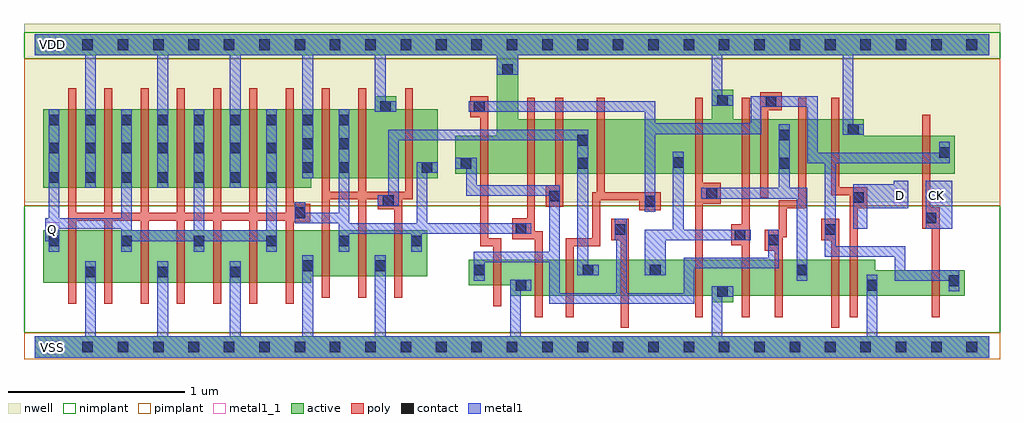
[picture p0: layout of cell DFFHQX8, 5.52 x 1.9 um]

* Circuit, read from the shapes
.subckt DFFHQX8 CK D Q VDD VSS
M1 VSS n1 Q VSS nfet w=0.295u l=0.045u m=7
M2 n1 n2 VSS VSS nfet w=0.26u l=0.045u m=3
M3 VSS n3 n4 VSS nfet w=0.145u l=0.045u
M4 n5 n1 VSS VSS nfet w=0.205u l=0.045u
M5 n2 n3 n5 VSS nfet w=0.205u l=0.045u
M6 n6 n4 n2 VSS nfet w=0.205u l=0.045u
M7 VSS n7 n6 VSS nfet w=0.205u l=0.045u
M8 n8 n6 VSS VSS nfet w=0.205u l=0.045u
M9 n7 n4 n8 VSS nfet w=0.205u l=0.045u
M10 n9 n3 n7 VSS nfet w=0.205u l=0.045u
M11 VSS D n9 VSS nfet w=0.205u l=0.045u
M12 n3 CK VSS VSS nfet w=0.145u l=0.045u
M13 VDD n1 Q VDD pfet w=0.445u l=0.045u m=7
M14 n1 n2 VDD VDD pfet w=0.39u l=0.045u m=3
M15 VDD n3 n4 VDD pfet w=0.215u l=0.045u
M16 n10 n1 VDD VDD pfet w=0.31u l=0.045u
M17 n2 n4 n10 VDD pfet w=0.31u l=0.045u
M18 n6 n3 n2 VDD pfet w=0.31u l=0.045u
M19 VDD n7 n6 VDD pfet w=0.31u l=0.045u
M20 n11 n6 VDD VDD pfet w=0.31u l=0.045u
M21 n7 n3 n11 VDD pfet w=0.31u l=0.045u
M22 n12 n4 n7 VDD pfet w=0.31u l=0.045u
M23 VDD D n12 VDD pfet w=0.31u l=0.045u
M24 n3 CK VDD VDD pfet w=0.215u l=0.045u
.ends

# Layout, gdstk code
import gdstk
lib = gdstk.Library(unit=1e-6, precision=5e-10)
def R(c, l, rs):  # rectangles x0, y0, x1, y1
    for r in rs: c.add(gdstk.rectangle(r[:2], r[2:], *l))
def A(c, l, x, y, w, h, nx, ny, dx, dy):  # array of equal rectangles
    R(c, l, [(x+i*dx, y+j*dy, x+i*dx+w, y+j*dy+h) for i in range(nx) for j in range(ny)])
def P(c, l, *ps):  # polygons
    for p in ps: c.add(gdstk.Polygon(p, *l))
active = (1, 0)
nwell = (2, 0)
poly = (3, 0)
nimplant = (4, 0)
pimplant = (5, 0)
contact = (6, 0)
metal1 = (7, 0)
metal1_1 = (7, 1)

dffhqx8 = lib.new_cell('DFFHQX8')
R(dffhqx8, active, [(0,-0.06,5.4,0.06)])
P(dffhqx8, active, [(0,1.77),(5.4,1.77),(5.4,1.65),(2.735,1.65),(2.735,1.29),(3.83,1.29),(3.83,1.455),(3.95,1.455),(3.95,1.29),(4.69,1.29),(4.69,1.195),(5.205,1.195),(5.205,0.98),(2.38,0.98),(2.38,1.195),(2.615,1.195),(2.615,1.65),(0,1.65)],
  [(1.925,1.42),(2.045,1.42),(2.045,1.345),(2.28,1.345),(2.28,0.955),(1.565,0.955),(1.565,0.9),(0.05,0.9),(0.05,1.345),(1.925,1.345)],
  [(0.05,0.66),(2.22,0.66),(2.22,0.4),(1.565,0.4),(1.565,0.365),(0.05,0.365)],
  [(2.455,0.495),(4.755,0.495),(4.755,0.435),(5.26,0.435),(5.26,0.29),(3.95,0.29),(3.95,0.255),(3.83,0.255),(3.83,0.29),(2.69,0.29),(2.69,0.35),(2.455,0.35)])
R(dffhqx8, nwell, [(-0.06,0.82,5.46,1.83)])
P(dffhqx8, poly, [(0.19,1.465),(0.235,1.465),(0.235,0.76),(0.395,0.76),(0.395,1.465),(0.44,1.465),(0.44,0.76),(0.6,0.76),(0.6,1.465),(0.645,1.465),(0.645,0.76),(0.805,0.76),(0.805,1.465),(0.85,1.465),(0.85,0.76),(1.01,0.76),(1.01,1.465),(1.055,1.465),(1.055,0.76),(1.215,0.76),(1.215,1.465),(1.26,1.465),(1.26,0.76),(1.42,0.76),(1.42,1.465),(1.465,1.465),(1.465,0.81),(1.56,0.81),(1.56,0.71),(1.465,0.71),(1.465,0.245),(1.42,0.245),(1.42,0.715),(1.26,0.715),(1.26,0.245),(1.215,0.245),(1.215,0.715),(1.055,0.715),(1.055,0.245),(1.01,0.245),(1.01,0.715),(0.85,0.715),(0.85,0.245),(0.805,0.245),(0.805,0.715),(0.645,0.715),(0.645,0.245),(0.6,0.245),(0.6,0.715),(0.44,0.715),(0.44,0.245),(0.395,0.245),(0.395,0.715),(0.235,0.715),(0.235,0.245),(0.19,0.245)],
  [(1.625,1.465),(1.67,1.465),(1.67,0.88),(1.83,0.88),(1.83,1.465),(1.875,1.465),(1.875,0.88),(2.095,0.88),(2.095,1.465),(2.14,1.465),(2.14,0.835),(2.08,0.835),(2.08,0.28),(2.035,0.28),(2.035,0.78),(1.94,0.78),(1.94,0.835),(1.875,0.835),(1.875,0.28),(1.83,0.28),(1.83,0.835),(1.67,0.835),(1.67,0.28),(1.625,0.28)],
  [(2.465,1.42),(2.565,1.42),(2.565,0.615),(2.64,0.615),(2.64,0.23),(2.595,0.23),(2.595,0.57),(2.52,0.57),(2.52,1.3),(2.465,1.3)],
  [(2.785,1.41),(2.83,1.41),(2.83,0.655),(2.875,0.655),(2.875,0.17),(2.83,0.17),(2.83,0.61),(2.7,0.61),(2.7,0.73),(2.785,0.73)],
  [(2.945,1.41),(2.99,1.41),(2.99,0.795),(2.89,0.795),(2.89,0.915),(2.945,0.915)],
  [(3.18,1.41),(3.225,1.41),(3.225,0.875),(3.54,0.875),(3.54,0.775),(3.42,0.775),(3.42,0.83),(3.2,0.83),(3.2,0.57),(3.05,0.57),(3.05,0.17),(3.005,0.17),(3.005,0.615),(3.155,0.615),(3.155,0.875),(3.18,0.875)],
  [(3.735,1.41),(3.78,1.41),(3.78,0.93),(3.88,0.93),(3.88,0.81),(3.78,0.81),(3.78,0.17),(3.735,0.17)],
  [(4.105,1.44),(4.225,1.44),(4.225,1.34),(4.15,1.34),(4.15,0.845),(4.105,0.845)],
  [(4,1.41),(4.045,1.41),(4.045,0.17),(4,0.17),(4,0.575),(3.94,0.575),(3.94,0.695),(4,0.695)],
  [(4.32,1.41),(4.365,1.41),(4.365,0.785),(4.255,0.785),(4.255,0.62),(4.23,0.62),(4.23,0.17),(4.185,0.17),(4.185,0.545),(4.13,0.545),(4.13,0.665),(4.21,0.665),(4.21,0.83),(4.32,0.83)],
  [(4.505,1.41),(4.55,1.41),(4.55,0.905),(4.71,0.905),(4.71,0.785),(4.655,0.785),(4.655,0.17),(4.61,0.17),(4.61,0.86),(4.505,0.86)],
  [(5.02,1.315),(5.065,1.315),(5.065,0.79),(5.12,0.79),(5.12,0.17),(5.075,0.17),(5.075,0.67),(5.02,0.67)],
  [(3.26,0.725),(3.36,0.725),(3.36,0.11),(3.315,0.11),(3.315,0.605),(3.26,0.605)],
  [(4.45,0.725),(4.55,0.725),(4.55,0.11),(4.505,0.11),(4.505,0.605),(4.45,0.605)])
R(dffhqx8, nimplant, [(-0.06,0.08,5.46,0.8), (-0.06,1.63,5.46,1.78)])
R(dffhqx8, pimplant, [(-0.06,-0.07,5.46,0.08), (-0.06,0.8,5.46,1.63)])
A(dffhqx8, contact, 0.07, -0.03, 0.06, 0.06, 27, 2, 0.2, 1.71)
A(dffhqx8, contact, 0.285, 0.395, 0.06, 0.06, 3, 1, 0.41, 0)
A(dffhqx8, contact, 0.08, 0.57, 0.06, 0.06, 6, 1, 0.41, 0)
A(dffhqx8, contact, 0.08, 0.93, 0.06, 0.06, 7, 2, 0.205, 0.165)
A(dffhqx8, contact, 0.08, 1.255, 0.06, 0.06, 9, 1, 0.205, 0)
R(dffhqx8, contact, [(3.86,0.285,3.92,0.345), (2.72,0.32,2.78,0.38), (4.705,0.32,4.765,0.38), (5.17,0.345,5.23,0.405), (2.485,0.405,2.545,0.465), (3.1,0.405,3.16,0.465), (3.48,0.405,3.54,0.465), (4.31,0.405,4.37,0.465), (1.515,0.43,1.575,0.49), (1.925,0.43,1.985,0.49), (4.15,0.575,4.21,0.635), (3.96,0.605,4.02,0.665), (3.28,0.635,3.34,0.695), (4.47,0.635,4.53,0.695), (2.72,0.64,2.78,0.7), (5.04,0.7,5.1,0.76), (1.47,0.73,1.53,0.79), (3.45,0.795,3.51,0.855), (1.97,0.8,2.03,0.86), (4.63,0.815,4.69,0.875), (2.91,0.825,2.97,0.885), (3.8,0.84,3.86,0.9), (1.515,0.985,1.575,1.045), (1.72,0.985,1.78,1.045), (2.19,0.985,2.25,1.045), (2.41,1.01,2.47,1.07), (3.07,1.01,3.13,1.07), (4.21,1.01,4.27,1.07), (3.61,1.015,3.67,1.075), (5.115,1.07,5.175,1.13), (1.515,1.12,1.575,1.18), (1.72,1.12,1.78,1.18), (3.07,1.14,3.13,1.2), (4.21,1.17,4.27,1.23), (4.6,1.2,4.66,1.26), (1.955,1.33,2.015,1.39), (2.485,1.33,2.545,1.39), (4.135,1.36,4.195,1.42), (3.86,1.365,3.92,1.425), (2.645,1.54,2.705,1.6)])
R(dffhqx8, metal1, [(5.04,0.67,5.19,0.94)])
P(dffhqx8, metal1, [(0,1.77),(5.4,1.77),(5.4,1.65),(4.63,1.65),(4.63,1.26),(4.69,1.26),(4.69,1.2),(4.57,1.2),(4.57,1.65),(3.89,1.65),(3.89,1.425),(3.95,1.425),(3.95,1.365),(3.83,1.365),(3.83,1.65),(2.735,1.65),(2.735,1.54),(2.615,1.54),(2.615,1.65),(1.985,1.65),(1.985,1.39),(2.045,1.39),(2.045,1.33),(1.925,1.33),(1.925,1.65),(1.575,1.65),(1.575,0.955),(1.515,0.955),(1.515,1.65),(1.165,1.65),(1.165,0.9),(1.105,0.9),(1.105,1.65),(0.755,1.65),(0.755,0.9),(0.695,0.9),(0.695,1.65),(0.345,1.65),(0.345,0.9),(0.285,0.9),(0.285,1.65),(0,1.65)],
  [(0.08,1.345),(0.14,1.345),(0.14,0.73),(0.49,0.73),(0.49,1.345),(0.55,1.345),(0.55,0.66),(0.9,0.66),(0.9,1.345),(0.96,1.345),(0.96,0.66),(1.31,0.66),(1.31,1.345),(1.37,1.345),(1.37,0.54),(1.31,0.54),(1.31,0.6),(0.96,0.6),(0.96,0.54),(0.9,0.54),(0.9,0.6),(0.55,0.6),(0.55,0.54),(0.49,0.54),(0.49,0.67),(0.14,0.67),(0.14,0.54),(0.08,0.54),(0.08,0.6),(0.06,0.6),(0.06,0.73),(0.08,0.73)],
  [(2.455,1.39),(3.51,1.39),(3.51,1.265),(4.05,1.265),(4.05,1.42),(4.43,1.42),(4.43,1.1),(5.115,1.1),(5.115,1.16),(5.175,1.16),(5.175,1.04),(4.53,1.04),(4.53,0.57),(4.925,0.57),(4.925,0.435),(5.23,0.435),(5.23,0.315),(5.17,0.315),(5.17,0.375),(4.865,0.375),(4.865,0.51),(4.47,0.51),(4.47,1.04),(4.37,1.04),(4.37,1.36),(4.11,1.36),(4.11,1.205),(3.51,1.205),(3.51,0.765),(3.45,0.765),(3.45,1.33),(2.455,1.33)],
  [(1.47,0.82),(1.53,0.82),(1.53,0.76),(1.72,0.76),(1.72,1.345),(1.78,1.345),(1.78,0.7),(2.16,0.7),(2.16,1.045),(2.28,1.045),(2.28,0.985),(2.22,0.985),(2.22,0.7),(2.81,0.7),(2.81,0.64),(2.19,0.64),(2.19,0.54),(2.13,0.54),(2.13,0.64),(1.78,0.64),(1.78,0.54),(1.72,0.54),(1.72,0.7),(1.47,0.7)],
  [(2,1.23),(3.13,1.23),(3.13,0.465),(3.19,0.465),(3.19,0.405),(3.07,0.405),(3.07,1.17),(2.06,1.17),(2.06,0.8),(1.94,0.8),(1.94,0.86),(2,0.86)],
  [(2.38,1.07),(2.5,1.07),(2.5,0.915),(2.97,0.915),(2.97,0.305),(3.29,0.305),(3.29,0.605),(3.28,0.605),(3.28,0.725),(3.35,0.725),(3.35,0.305),(3.67,0.305),(3.67,0.505),(4.15,0.505),(4.15,0.665),(4.21,0.665),(4.21,0.445),(3.73,0.445),(3.73,0.245),(2.91,0.245),(2.91,0.48),(2.545,0.48),(2.545,0.375),(2.485,0.375),(2.485,0.54),(2.91,0.54),(2.91,0.855),(2.44,0.855),(2.44,1.01),(2.38,1.01)],
  [(0.285,0.485),(0.345,0.485),(0.345,0.06),(0.695,0.06),(0.695,0.485),(0.755,0.485),(0.755,0.06),(1.105,0.06),(1.105,0.485),(1.165,0.485),(1.165,0.06),(1.515,0.06),(1.515,0.52),(1.575,0.52),(1.575,0.06),(1.925,0.06),(1.925,0.52),(1.985,0.52),(1.985,0.06),(2.69,0.06),(2.69,0.38),(2.81,0.38),(2.81,0.32),(2.75,0.32),(2.75,0.06),(3.83,0.06),(3.83,0.345),(3.95,0.345),(3.95,0.285),(3.89,0.285),(3.89,0.06),(4.705,0.06),(4.705,0.41),(4.765,0.41),(4.765,0.06),(5.4,0.06),(5.4,-0.06),(0,-0.06),(0,0.06),(0.285,0.06)],
  [(4.21,1.26),(4.27,1.26),(4.27,0.9),(4.37,0.9),(4.37,0.375),(4.31,0.375),(4.31,0.84),(3.77,0.84),(3.77,0.9),(4.21,0.9)],
  [(3.61,1.105),(3.67,1.105),(3.67,0.665),(4.05,0.665),(4.05,0.605),(3.57,0.605),(3.57,0.405),(3.45,0.405),(3.45,0.665),(3.61,0.665)],
  [(4.86,0.94),(4.94,0.94),(4.94,0.785),(4.71,0.785),(4.71,0.67),(4.63,0.67),(4.63,0.92),(4.86,0.92)])
R(dffhqx8, metal1_1, [(0.06,-0.04,0.14,0.04), (0.06,0.625,0.14,0.705), (4.86,0.815,4.94,0.895), (5.06,0.815,5.14,0.895), (0.06,1.67,0.14,1.75)])
dffhqx8.add(gdstk.Label('CK', (5.1,0.855), layer=7, texttype=1))
dffhqx8.add(gdstk.Label('D', (4.9,0.855), layer=7, texttype=1))
dffhqx8.add(gdstk.Label('Q', (0.1,0.665), layer=7, texttype=1))
dffhqx8.add(gdstk.Label('VDD', (0.1,1.71), layer=7, texttype=1))
dffhqx8.add(gdstk.Label('VSS', (0.1,0), layer=7, texttype=1))
dffhqx8.add(gdstk.Label('DFFHQX8', (0,0), layer=63, texttype=0))

lib.write_gds('DFFHQX8.gds')
